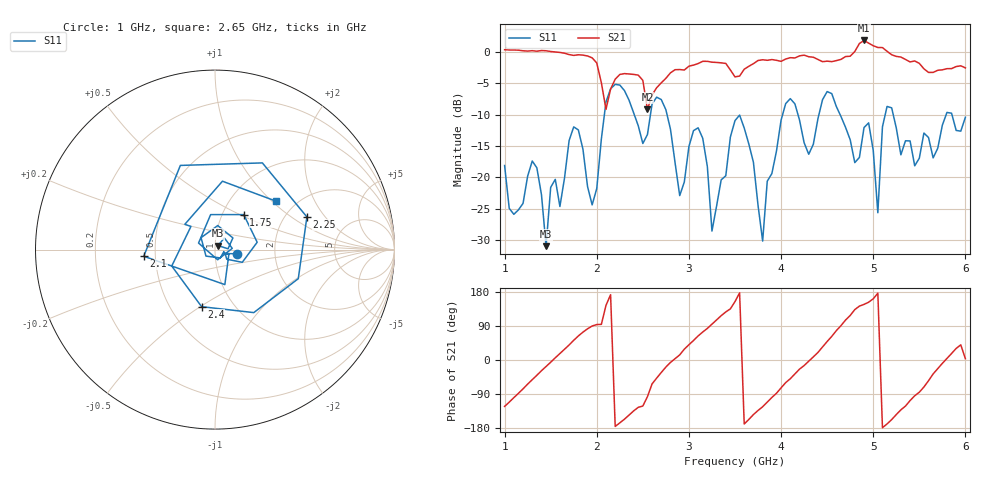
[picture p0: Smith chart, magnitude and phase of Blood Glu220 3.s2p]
! NanoVNA-App
! Date: 2024-03-21 01:37:45
! Start: 1GHz Stop: 6GHz Points: 101
! S-Parameter data: F S11 S21 S12 S22
# Hz S RI R 50
!	Frequency	S11_Real	S11_Imag	S21_Real	S21_Imag	S12_Real	S12_Imag	S22_Real	S22_Imag
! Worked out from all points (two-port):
!   101 points, 1 GHz to 6 GHz, reference 50 ohm
!   highest |S21| = 1.81 dB at 4.9 GHz (marker M1); lowest = -9.2 dB at 2.55 GHz (marker M2)
!   |S21| within 3 dB of the highest: start of sweep to 1.964 GHz; 4.652 GHz to 5.346 GHz (694.4 MHz wide, 13.9 % of centre)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
!   lowest |S11| = -31.0 dB at 1.45 GHz (marker M3), VSWR 1.06, Z = 51.7 + j2.34 ohm
!   |S11| at or under -10 dB: start of sweep to 2.083 GHz; 2.762 GHz to 4.017 GHz (1.255 GHz wide, 37 % of centre); 5.217 GHz to 5.792 GHz (574.9 MHz wide, 10.4 % of centre)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
!   S12 and S22 are empty: the file has one direction only
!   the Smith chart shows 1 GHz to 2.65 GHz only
!   S11 on the Smith chart (normalised r, x): 1 GHz: 1.28, -0.06; 1.75 GHz: 1.26, +0.52; 2.1 GHz: 0.43, -0.04; 2.25 GHz: 2.60, +1.34; 2.4 GHz: 0.71, -0.51; 2.65 GHz: 1.60, +1.06
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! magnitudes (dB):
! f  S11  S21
! 1 GHz  -18.1  0.3
! 1.45 GHz  -31.0  0.2
! 1.75 GHz  -12.0  -0.6
! 1.85 GHz  -15.5  -0.5
! 1.95 GHz  -24.4  -1.0
! 2.1 GHz  -8.0  -9.2
! 2.25 GHz  -5.3  -3.6
! 2.4 GHz  -9.7  -3.6
! 2.55 GHz  -13.2  -9.2
! 2.65 GHz  -7.2  -5.7
! 2.7 GHz  -7.6  -4.9
! 2.9 GHz  -22.9  -2.8
! 3.15 GHz  -13.8  -1.5
! 3.25 GHz  -28.6  -1.7
! 3.5 GHz  -11.0  -4.0
! 3.8 GHz  -30.2  -1.3
! 4.05 GHz  -8.3  -1.2
! 4.35 GHz  -14.7  -0.9
! 4.9 GHz  -12.1  1.8
! 5.05 GHz  -25.6  0.7
! 5.2 GHz  -8.9  -0.5
! 6 GHz  -10.4  -2.6
